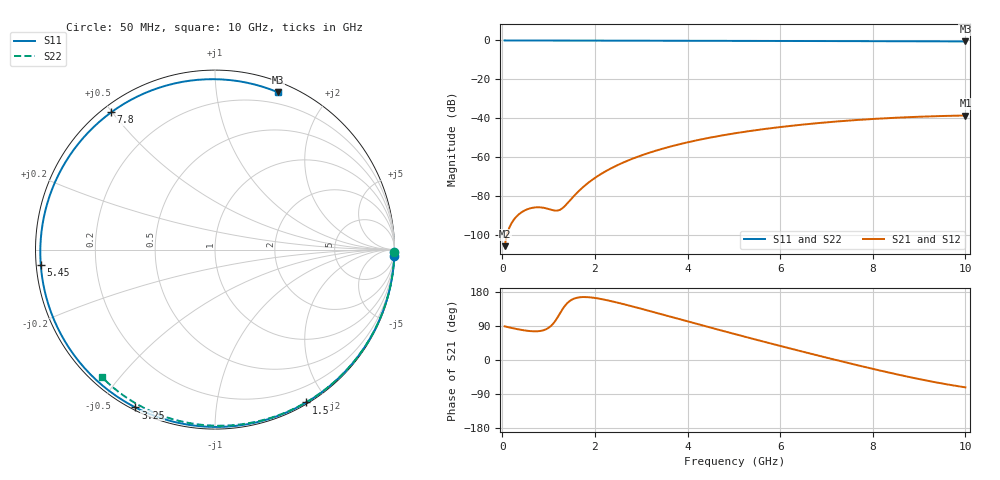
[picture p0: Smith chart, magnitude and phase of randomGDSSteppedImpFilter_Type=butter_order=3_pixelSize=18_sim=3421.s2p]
! freq	dB(S11)	phase(S11)	dB(S12)	phase(S12)
!  dB(S21)	phase(S21)	dB(S22)	phase(S22)
!S-par simulation data
#  GHz  S  DB  R 50
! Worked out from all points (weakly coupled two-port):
!   200 points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, 50 MHz to 10 GHz, reference 50 ohm
!   highest |S21| = -38.59 dB at 10 GHz (marker M1); lowest = -105.8 dB at 50 MHz (marker M2)
!   lowest |S11| = -0.5 dB at 10 GHz (marker M3), VSWR 34.75, Z = 4.56 + j73.6 ohm
!   |S11| at or under -10 dB: nowhere
!   |S22| runs from -0.5 to 0.0 dB; largest |S21 - S12| = 0
!   S11 on the Smith chart (normalised r, x): 50 MHz: 0, -55; 1.5 GHz: 0.02, -1.76; 3.25 GHz: 0.01, -0.62; 5.45 GHz: 0.01, -0.04; 7.8 GHz: 0.03, +0.50; 10 GHz: 0.09, +1.47
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0.05  -0.00 -2.1  -105.77 88.9  -105.77 88.9  -0.00 -0.8
0.35  -0.02 -14.3  -89.55 80.8  -89.55 80.8  -0.01 -5.3
0.7  -0.04 -28.4  -85.86 75.7  -85.86 75.7  -0.01 -10.6
1.1  -0.06 -44.1  -87.32 96.1  -87.32 96.1  -0.02 -16.6
1.5  -0.07 -59.1  -81.21 159.1  -81.21 159.1  -0.03 -22.6
1.55  -0.07 -61.0  -79.91 161.9  -79.91 161.9  -0.03 -23.3
1.75  -0.08 -68.2  -75.27 166.1  -75.27 166.1  -0.03 -26.3
2.05  -0.09 -78.7  -69.88 162.8  -69.88 162.8  -0.04 -30.7
2.4  -0.10 -90.5  -65.13 154.0  -65.13 154.0  -0.05 -35.7
2.8  -0.12 -103.2  -60.91 141.7  -60.91 141.7  -0.05 -41.5
3.25  -0.13 -116.8  -57.16 127.0  -57.16 127.0  -0.06 -47.9
3.4  -0.14 -121.1  -56.08 122.0  -56.08 122.0  -0.07 -50.0
4.2  -0.17 -143.2  -51.34 95.4  -51.34 95.4  -0.09 -61.0
5.05  -0.20 -165.1  -47.63 67.5  -47.63 67.5  -0.11 -72.3
5.45  -0.22 -175.0  -46.21 54.6  -46.21 54.6  -0.12 -77.5
6.05  -0.26 170.3  -44.39 35.6  -44.39 35.6  -0.15 -85.2
6.7  -0.30 154.5  -42.76 15.4  -42.76 15.4  -0.18 -93.2
7.25  -0.33 140.9  -41.61 -1.3  -41.61 -1.3  -0.21 -99.9
7.8  -0.36 127.1  -40.67 -17.6  -40.67 -17.6  -0.25 -106.5
8.35  -0.40 113.0  -39.91 -33.2  -39.91 -33.2  -0.29 -112.9
9.2  -0.45 90.4  -39.06 -55.2  -39.06 -55.2  -0.36 -122.6
10  -0.50 68.3  -38.59 -72.2  -38.59 -72.2  -0.45 -131.5
